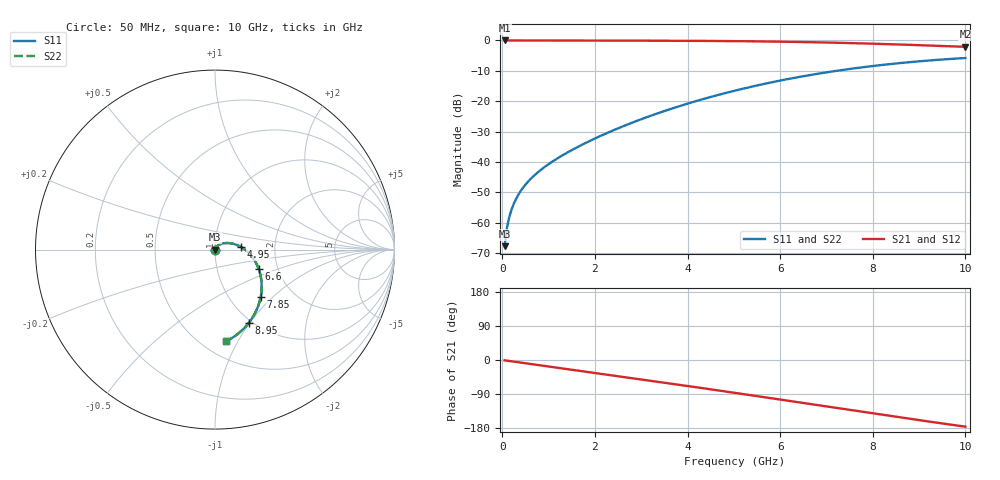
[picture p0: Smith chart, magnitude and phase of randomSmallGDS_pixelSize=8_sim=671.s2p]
! freq	dB(S11)	phase(S11)	dB(S12)	phase(S12)
!  dB(S21)	phase(S21)	dB(S22)	phase(S22)
!S-par simulation data
#  GHz  S  DB  R 50
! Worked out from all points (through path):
!   200 points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, 50 MHz to 10 GHz, reference 50 ohm
!   highest |S21| = 0.00 dB at 50 MHz (marker M1); lowest = -2.1 dB at 10 GHz (marker M2)
!   group delay of S21, straight-line fit = 49.3 ps
!   lowest |S11| = -67.7 dB at 50 MHz (marker M3), VSWR 1.00, Z = 50 + j0.0412 ohm
!   |S11| at or under -10 dB: start of sweep to 7.214 GHz
!   |S22| runs from -67.7 to -5.8 dB; largest |S21 - S12| = 0
!   S11 on the Smith chart (normalised r, x): 50 MHz: 1.00, +0.00; 4.95 GHz: 1.34, +0.04; 6.6 GHz: 1.59, -0.37; 7.85 GHz: 1.38, -0.85; 8.95 GHz: 0.96, -0.99; 10 GHz: 0.65, -0.90
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0.05  -67.67 84.9  -0.00 -0.9  -0.00 -0.9  -67.67 84.9
0.1  -61.66 86.3  -0.00 -1.7  -0.00 -1.7  -61.66 86.3
0.15  -58.13 86.2  -0.00 -2.6  -0.00 -2.6  -58.13 86.2
0.2  -55.62 85.8  -0.00 -3.4  -0.00 -3.4  -55.62 85.8
0.3  -52.04 84.6  -0.00 -5.1  -0.00 -5.1  -52.04 84.6
0.45  -48.41 82.5  -0.01 -7.7  -0.01 -7.7  -48.41 82.5
0.65  -44.99 79.6  -0.01 -11.1  -0.01 -11.1  -44.99 79.5
0.95  -41.22 74.9  -0.02 -16.1  -0.02 -16.1  -41.22 74.9
1.3  -37.79 69.4  -0.03 -22.1  -0.03 -22.1  -37.79 69.4
1.75  -34.09 62.1  -0.03 -29.7  -0.03 -29.7  -34.09 62.0
2.55  -28.59 48.5  -0.05 -43.3  -0.05 -43.3  -28.59 48.4
3.4  -23.73 33.6  -0.08 -58.0  -0.08 -58.0  -23.73 33.5
4.2  -19.88 19.4  -0.13 -72.0  -0.13 -72.0  -19.88 19.4
4.95  -16.79 6.0  -0.21 -85.4  -0.21 -85.4  -16.79 6.0
5.05  -16.41 4.2  -0.23 -87.2  -0.23 -87.2  -16.41 4.2
5.8  -13.82 -9.3  -0.35 -100.8  -0.35 -100.8  -13.82 -9.4
6.6  -11.50 -23.8  -0.55 -115.4  -0.55 -115.4  -11.50 -23.9
6.7  -11.24 -25.6  -0.58 -117.2  -0.58 -117.2  -11.24 -25.7
7.85  -8.69 -46.3  -1.00 -138.2  -1.00 -138.2  -8.69 -46.3
8.35  -7.81 -55.1  -1.22 -147.2  -1.22 -147.2  -7.81 -55.1
8.95  -6.93 -65.4  -1.52 -157.8  -1.52 -157.8  -6.93 -65.5
10  -5.78 -82.9  -2.09 -176.0  -2.09 -176.0  -5.78 -83.0
